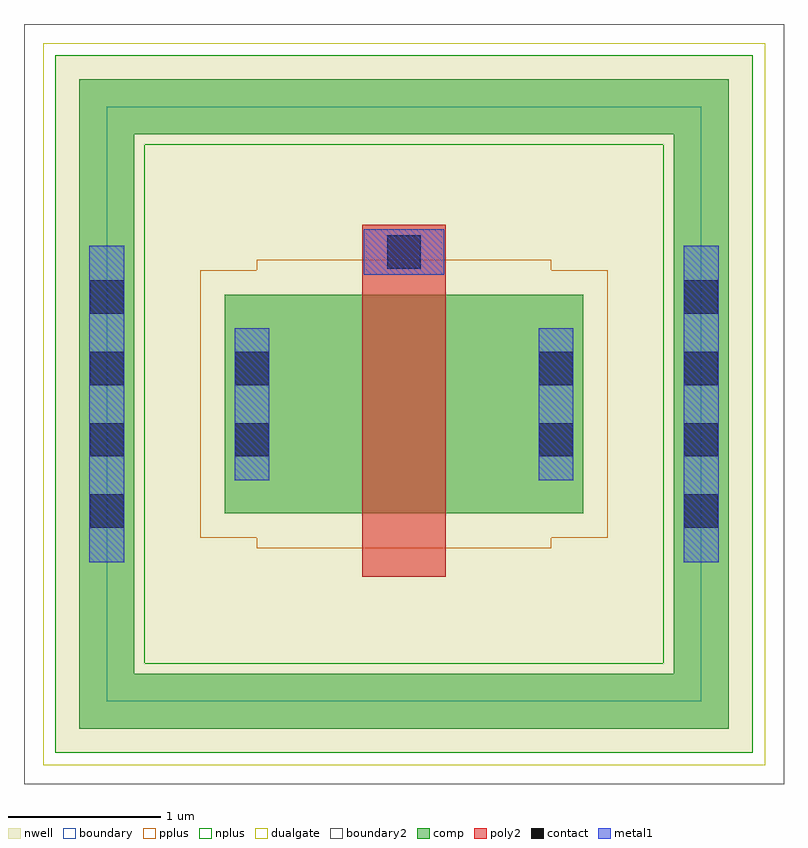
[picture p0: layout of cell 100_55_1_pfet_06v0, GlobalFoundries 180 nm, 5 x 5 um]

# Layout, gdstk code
import gdstk
lib = gdstk.Library(unit=1e-6, precision=1e-09)
def R(c, l, rs):  # rectangles x0, y0, x1, y1
    for r in rs: c.add(gdstk.rectangle(r[:2], r[2:], *l))
def A(c, l, x, y, w, h, nx, ny, dx, dy):  # array of equal rectangles
    R(c, l, [(x+i*dx, y+j*dy, x+i*dx+w, y+j*dy+h) for i in range(nx) for j in range(ny)])
boundary = (0, 0)
nwell = (21, 0)
comp = (22, 0)
poly2 = (30, 0)
pplus = (31, 0)
nplus = (32, 0)
contact = (33, 0)
metal1 = (34, 0)
dualgate = (55, 0)
boundary2 = (63, 0)

c_100_55_1_pfet_06v0 = lib.new_cell('100_55_1_pfet_06v0')
R(c_100_55_1_pfet_06v0, boundary, [(-1.955,-1.955,1.955,1.955)])
R(c_100_55_1_pfet_06v0, nwell, [(-2.295,-2.295,2.295,2.295)])
R(c_100_55_1_pfet_06v0, comp, [(-2.135,-2.135,2.135,-1.775), (-2.135,-1.775,-1.775,1.775), (1.775,-1.775,2.135,1.775), (-1.18,-0.72,1.18,0.72), (-2.135,1.775,2.135,2.135)])
R(c_100_55_1_pfet_06v0, poly2, [(-0.275,-1.135,0.275,1.18)])
R(c_100_55_1_pfet_06v0, pplus, [(-0.97,-0.95,0.97,-0.88), (-1.34,-0.88,1.34,0.88), (-0.97,0.88,0.97,0.95)])
R(c_100_55_1_pfet_06v0, nplus, [(-2.295,-2.295,2.295,-1.705), (-2.295,-1.705,-1.705,1.705), (1.705,-1.705,2.295,1.705), (-2.295,1.705,2.295,2.295)])
A(c_100_55_1_pfet_06v0, contact, -2.065, -0.815, 0.22, 0.22, 1, 4, 0, 0.47)
A(c_100_55_1_pfet_06v0, contact, 1.845, -0.815, 0.22, 0.22, 1, 4, 0, 0.47)
R(c_100_55_1_pfet_06v0, contact, [(-1.11,-0.345,-0.89,-0.125), (0.89,-0.345,1.11,-0.125), (-1.11,0.125,-0.89,0.345), (0.89,0.125,1.11,0.345), (-0.11,0.89,0.11,1.11)])
R(c_100_55_1_pfet_06v0, metal1, [(-2.07,-1.04,-1.84,1.04), (1.84,-1.04,2.07,1.04), (-1.115,-0.5,-0.885,0.5), (0.885,-0.5,1.115,0.5), (-0.265,0.85,0.265,1.15)])
R(c_100_55_1_pfet_06v0, dualgate, [(-2.375,-2.375,2.375,2.375)])
A(c_100_55_1_pfet_06v0, boundary2, -2.5, -2.5, 1, 1, 5, 5, 1, 1)

lib.write_gds('100_55_1_pfet_06v0.gds')
